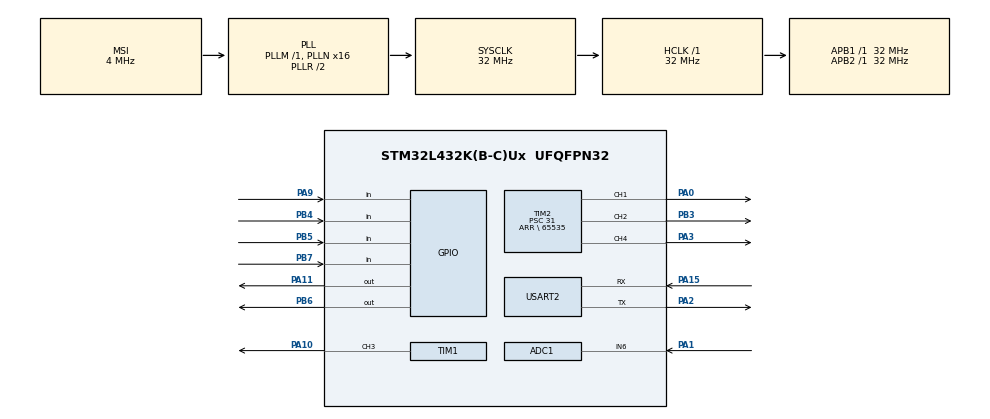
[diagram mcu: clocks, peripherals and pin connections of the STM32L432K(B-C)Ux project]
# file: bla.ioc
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ADC1.Channel-0\#ChannelRegularConversion=ADC_CHANNEL_6
ADC1.ClockPrescaler=ADC_CLOCK_ASYNC_DIV1
ADC1.ContinuousConvMode=DISABLE
ADC1.DMAContinuousRequests=DISABLE
ADC1.DataAlign=ADC_DATAALIGN_RIGHT
ADC1.DiscontinuousConvMode=DISABLE
ADC1.EOCSelection=ADC_EOC_SINGLE_CONV
ADC1.EnableAnalogWatchDog1=false
ADC1.EnableAnalogWatchDog2=false
ADC1.EnableAnalogWatchDog3=false
ADC1.EnableInjectedConversion=DISABLE
ADC1.EnableRegularConversion=ENABLE
ADC1.ExternalTrigConv=ADC_SOFTWARE_START
ADC1.ExternalTrigConvEdge=ADC_EXTERNALTRIGCONVEDGE_NONE
ADC1.LowPowerAutoWait=DISABLE
ADC1.NbrOfConversion=1
ADC1.NbrOfConversionFlag=1
ADC1.OffsetNumber-0\#ChannelRegularConversion=ADC_OFFSET_NONE
ADC1.Overrun=ADC_OVR_DATA_PRESERVED
ADC1.OversamplingMode=DISABLE
ADC1.Rank-0\#ChannelRegularConversion=1
ADC1.Resolution=ADC_RESOLUTION_12B
ADC1.SamplingTime-0\#ChannelRegularConversion=ADC_SAMPLETIME_2CYCLES_5
ADC1.ScanConvMode=ADC_SCAN_DISABLE
ADC1.master=1
Mcu.Family=STM32L4
Mcu.Name=STM32L432K(B-C)Ux
Mcu.Package=UFQFPN32
NVIC.PriorityGroup=NVIC_PRIORITYGROUP_4
NVIC.TIM1_CC_IRQn=true\:0\:0\:false\:false\:true\:true
NVIC.TIM2_IRQn=true\:0\:0\:false\:false\:true\:true
PA0.Signal=S_TIM2_CH1
PA1.Signal=ADCx_IN6
PA10.Signal=S_TIM1_CH3
PA11.Signal=GPIO_Output
PA13\ (JTMS-SWDIO).Mode=Serial_Wire
PA13\ (JTMS-SWDIO).Signal=SYS_JTMS-SWDIO
PA14\ (JTCK-SWCLK).Mode=Serial_Wire
PA14\ (JTCK-SWCLK).Signal=SYS_JTCK-SWCLK
PA15\ (JTDI).Mode=Asynchronous
PA15\ (JTDI).Signal=USART2_RX
PA2.Mode=Asynchronous
PA2.Signal=USART2_TX
PA3.Signal=S_TIM2_CH4
PA9.Signal=GPIO_Input
PB3\ (JTDO-TRACESWO).Signal=S_TIM2_CH2
PB4\ (NJTRST).Signal=GPIO_Input
PB5.Signal=GPIO_Input
PB6.Signal=GPIO_Output
PB7.Signal=GPIO_Input
PC14-OSC32_IN\ (PC14).Mode=LSE-External-Oscillator
PC14-OSC32_IN\ (PC14).Signal=RCC_OSC32_IN
PC15-OSC32_OUT\ (PC15).Mode=LSE-External-Oscillator
PC15-OSC32_OUT\ (PC15).Signal=RCC_OSC32_OUT
ProjectManager.HeapSize=0x200
ProjectManager.StackSize=0x400
ProjectManager.TargetToolchain=MDK-ARM V5
RCC.ADCFreq_Value=32000000
RCC.AHBFreq_Value=32000000
RCC.APB1Freq_Value=32000000
RCC.APB1TimFreq_Value=32000000
RCC.APB2Freq_Value=32000000
RCC.APB2TimFreq_Value=32000000
RCC.CortexFreq_Value=32000000
RCC.HCLKFreq_Value=32000000
RCC.HSE_VALUE=8000000
RCC.HSI48_VALUE=48000000
RCC.HSI_VALUE=16000000
RCC.MSI_VALUE=4000000
RCC.PLLN=16
RCC.PLLSAI1N=16
RCC.SYSCLKFreq_VALUE=32000000
RCC.SYSCLKSource=RCC_SYSCLKSOURCE_PLLCLK
RCC.USBFreq_Value=32000000
RCC.VCOOutputFreq_Value=64000000
SH.ADCx_IN6.0=ADC1_IN6,IN6-Single-Ended
SH.S_TIM1_CH3.0=TIM1_CH3,PWM Generation3 CH3
SH.S_TIM2_CH1.0=TIM2_CH1,PWM Generation1 CH1
SH.S_TIM2_CH2.0=TIM2_CH2,PWM Generation2 CH2
SH.S_TIM2_CH4.0=TIM2_CH4,PWM Generation4 CH4
TIM1.Channel-PWM\ Generation3\ CH3=TIM_CHANNEL_3
TIM1.Period=65535
TIM1.Prescaler=31
TIM2.Channel-PWM\ Generation1\ CH1=TIM_CHANNEL_1
TIM2.Channel-PWM\ Generation2\ CH2=TIM_CHANNEL_2
TIM2.Channel-PWM\ Generation4\ CH4=TIM_CHANNEL_4
TIM2.Period=\ 65535
TIM2.Prescaler=31
USART2.VirtualMode-Asynchronous=VM_ASYNC
VP_TIM1_VS_ClockSourceINT.Mode=Internal
VP_TIM2_VS_ClockSourceINT.Mode=Internal
board=custom

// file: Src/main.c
/**
  ******************************************************************************
  * @file           : main.c
  * @brief          : Main program body
  ******************************************************************************
  ** This notice applies to any and all portions of this file
  * that are not between comment pairs USER CODE BEGIN and
  * USER CODE END. Other portions of this file, whether
  * inserted by the user or by software development tools
  * are owned by their respective copyright owners.
  *
  * COPYRIGHT(c) 2022 STMicroelectronics
  *
  * Redistribution and use in source and binary forms, with or without modification,
  * are permitted provided that the following conditions are met:
  *   1. Redistributions of source code must retain the above copyright notice,
  *      this list of conditions and the following disclaimer.
  *   2. Redistributions in binary form must reproduce the above copyright notice,
  *      this list of conditions and the following disclaimer in the documentation
  *      and/or other materials provided with the distribution.
  *   3. Neither the name of STMicroelectronics nor the names of its contributors
  *      may be used to endorse or promote products derived from this software
  *      without specific prior written permission.
  *
  * THIS SOFTWARE IS PROVIDED BY THE COPYRIGHT HOLDERS AND CONTRIBUTORS "AS IS"
  * AND ANY EXPRESS OR IMPLIED WARRANTIES, INCLUDING, BUT NOT LIMITED TO, THE
  * IMPLIED WARRANTIES OF MERCHANTABILITY AND FITNESS FOR A PARTICULAR PURPOSE ARE
  * DISCLAIMED. IN NO EVENT SHALL THE COPYRIGHT HOLDER OR CONTRIBUTORS BE LIABLE
  * FOR ANY DIRECT, INDIRECT, INCIDENTAL, SPECIAL, EXEMPLARY, OR CONSEQUENTIAL
  * DAMAGES (INCLUDING, BUT NOT LIMITED TO, PROCUREMENT OF SUBSTITUTE GOODS OR
  * SERVICES; LOSS OF USE, DATA, OR PROFITS; OR BUSINESS INTERRUPTION) HOWEVER
  * CAUSED AND ON ANY THEORY OF LIABILITY, WHETHER IN CONTRACT, STRICT LIABILITY,
  * OR TORT (INCLUDING NEGLIGENCE OR OTHERWISE) ARISING IN ANY WAY OUT OF THE USE
  * OF THIS SOFTWARE, EVEN IF ADVISED OF THE POSSIBILITY OF SUCH DAMAGE.
  *
  ******************************************************************************
  */
#include "main.h"
#include "stm32l4xx_hal.h"

/* USER CODE BEGIN Includes */
#include "stdio.h"
#include "stdlib.h"
#include "string.h"
/* USER CODE END Includes */

ADC_HandleTypeDef hadc1;

TIM_HandleTypeDef htim1;
TIM_HandleTypeDef htim2;

UART_HandleTypeDef huart2;

/* USER CODE BEGIN PV */
/* Private variables ---------------------------------------------------------*/
#define MAX_VOLTAGE 4095
/* USER CODE END PV */

void SystemClock_Config(void);
static void MX_GPIO_Init(void);
static void MX_ADC1_Init(void);
static void MX_USART2_UART_Init(void);
static void MX_TIM2_Init(void);
static void MX_TIM1_Init(void);

void HAL_TIM_MspPostInit(TIM_HandleTypeDef *htim);

/* USER CODE BEGIN PFP */
/* Private function prototypes -----------------------------------------------*/

/* USER CODE END PFP */

/* USER CODE BEGIN 0 */
int raw;
uint8_t uartBuff[100];
/* USER CODE END 0 */

int main(void)
{

  /* MCU Configuration----------------------------------------------------------*/

  /* Reset of all peripherals, Initializes the Flash interface and the Systick. */
  HAL_Init();

  /* Configure the system clock */
  SystemClock_Config();

  /* Initialize all configured peripherals */
  MX_GPIO_Init();
  MX_ADC1_Init();
  MX_USART2_UART_Init();
  MX_TIM2_Init();
  MX_TIM1_Init();
  /* USER CODE BEGIN 2 */
	TIM2->CCR1= 0;
	TIM2->CCR2= 0;
	TIM2->CCR4= 0;
	TIM1->CCR3= 0;
//HAL_ADCEx_Calibration_Start(&hadc1, ADC_CHANNEL_2);
  /* USER CODE END 2 */

  /* Infinite loop */
  while (1)
  {

  /* USER CODE BEGIN 3 */
//		HAL_GPIO_WritePin(GPIOA,GPIO_PIN_6, 1);
//		HAL_Delay(100);
//		HAL_GPIO_WritePin(GPIOA,GPIO_PIN_6, 0);
//		HAL_Delay(100);

				HAL_TIM_PWM_Start(&htim2, TIM_CHANNEL_1);
				HAL_TIM_PWM_Start(&htim2, TIM_CHANNEL_2);
				HAL_TIM_PWM_Start(&htim2, TIM_CHANNEL_4);
				HAL_TIM_PWM_Start(&htim1, TIM_CHANNEL_3);

			 HAL_ADC_Start(&hadc1);
	  HAL_ADC_PollForConversion(&hadc1, HAL_MAX_DELAY);
	  raw = HAL_ADC_GetValue(&hadc1);
	  sprintf((char*) uartBuff,"%d\r\n", raw);
	  HAL_UART_Transmit(&huart2, uartBuff, sizeof(uartBuff), HAL_MAX_DELAY);

			//blue
			int y= HAL_GPIO_ReadPin(GPIOB,GPIO_PIN_4);
			//SECOND SENSOR (Red)
		int y2= HAL_GPIO_ReadPin(GPIOB,GPIO_PIN_5);
			//THIRD SENSOR  (Yellow)
		int y3= HAL_GPIO_ReadPin(GPIOB,GPIO_PIN_7);
		//fourth sensor (white)
		int y4= HAL_GPIO_ReadPin(GPIOA,GPIO_PIN_9);

			if((!y)&&(!y2)&&(!y3)&&(!y4))
		{

//			if ((raw/100) <= 3)
//			 {
//				 	TIM2->CCR1= 0;
//					TIM2->CCR2= 0;
//					TIM2->CCR4= 0;
//					TIM1->CCR3= 0;
//			 }
//			 	else{
				 	TIM2->CCR1= 100;
					TIM2->CCR2= 1000;
					TIM2->CCR4= 10000;
					TIM1->CCR3= 30000;
//			 }
		}
		else{

	//blue
	if(!y)
	{

		 raw = HAL_ADC_GetValue(&hadc1);
		 if ((raw/100) <= 3){
			 TIM2->CCR2= 0;
//		  HAL_GPIO_WritePin(GPIOB, GPIO_PIN_3, 0);
	  }
	  else{
			TIM2->CCR2= 65535;
//		  HAL_GPIO_WritePin(GPIOB, GPIO_PIN_3, 1);
	  }
		//HAL_GPIO_WritePin(GPIOA,GPIO_PIN_8,1);
		//HAL_UART_Transmit(&huart2, (uint8_t *) "Detect", sizeof("Detect"), HAL_MAX_DELAY);
			HAL_Delay(200);
	}
		else
	{
		TIM2->CCR2= 0;
//		HAL_GPIO_WritePin(GPIOB,GPIO_PIN_3,0);
		HAL_Delay(200);
	}

	//SECOND SENSOR (Red)
	if(!y2)
	{

		 raw = HAL_ADC_GetValue(&hadc1);
		 if ((raw/100) <= 3){
			TIM2->CCR1= 0;
//		  HAL_GPIO_WritePin(GPIOB, GPIO_PIN_6, 0);

	  }
	  else{
			TIM2->CCR1= 65535;
//		  HAL_GPIO_WritePin(GPIOB, GPIO_PIN_6, 1);
	  }

		//HAL_GPIO_WritePin(GPIOA,GPIO_PIN_8,1);
		//HAL_UART_Transmit(&huart2, (uint8_t *) "Detect", sizeof("Detect"), HAL_MAX_DELAY);
			HAL_Delay(200);
	}
		else
	{
		TIM2->CCR1= 0;
//		HAL_GPIO_WritePin(GPIOB,GPIO_PIN_6,0);
		HAL_Delay(200);
	}

	//THIRD SENSOR  (Yellow)
	if(!y3)
	{
		 raw = HAL_ADC_GetValue(&hadc1);
		 if ((raw/100) <= 3){
			 TIM1->CCR3= 0;
//		  HAL_GPIO_WritePin(GPIOA, GPIO_PIN_10, 0);
	  }
	  else{
				TIM1->CCR3= 65535;
//		  HAL_GPIO_WritePin(GPIOA, GPIO_PIN_10, 1);
	  }
		//HAL_GPIO_WritePin(GPIOA,GPIO_PIN_8,1);
		//HAL_UART_Transmit(&huart2, (uint8_t *) "Detect", sizeof("Detect"), HAL_MAX_DELAY);
			HAL_Delay(200);
	}
		else
	{
		TIM1->CCR3= 0;
//		HAL_GPIO_WritePin(GPIOA,GPIO_PIN_10,0);
		HAL_Delay(200);
	}

	//fourth sensor (white)

	if(!y4)
	{
		 raw = HAL_ADC_GetValue(&hadc1);
		 if ((raw/100) <= 3){
			 TIM2->CCR4= 0;
//		  HAL_GPIO_WritePin(GPIOA, GPIO_PIN_11, 0);
	  }
	  else{
			TIM2->CCR4= 65535;
//		  HAL_GPIO_WritePin(GPIOA, GPIO_PIN_11, 1);
	  }
		//HAL_GPIO_WritePin(GPIOA,GPIO_PIN_8,1);
		//HAL_UART_Transmit(&huart2, (uint8_t *) "Detect", sizeof("Detect"), HAL_MAX_DELAY);
			HAL_Delay(200);
	}
		else
	{
		TIM2->CCR4= 0;
//		HAL_GPIO_WritePin(GPIOA,GPIO_PIN_11,0);
		HAL_Delay(200);
	}

}

  }
  /* USER CODE END 3 */

}

void SystemClock_Config(void)
{

  RCC_OscInitTypeDef RCC_OscInitStruct;
  RCC_ClkInitTypeDef RCC_ClkInitStruct;
  RCC_PeriphCLKInitTypeDef PeriphClkInit;

    /**Configure LSE Drive Capability
    */
  HAL_PWR_EnableBkUpAccess();

  __HAL_RCC_LSEDRIVE_CONFIG(RCC_LSEDRIVE_LOW);

    /**Initializes the CPU, AHB and APB busses clocks
    */
  RCC_OscInitStruct.OscillatorType = RCC_OSCILLATORTYPE_LSE|RCC_OSCILLATORTYPE_MSI;
  RCC_OscInitStruct.LSEState = RCC_LSE_ON;
  RCC_OscInitStruct.MSIState = RCC_MSI_ON;
  RCC_OscInitStruct.MSICalibrationValue = 0;
  RCC_OscInitStruct.MSIClockRange = RCC_MSIRANGE_6;
  RCC_OscInitStruct.PLL.PLLState = RCC_PLL_ON;
  RCC_OscInitStruct.PLL.PLLSource = RCC_PLLSOURCE_MSI;
  RCC_OscInitStruct.PLL.PLLM = 1;
  RCC_OscInitStruct.PLL.PLLN = 16;
  RCC_OscInitStruct.PLL.PLLP = RCC_PLLP_DIV7;
  RCC_OscInitStruct.PLL.PLLQ = RCC_PLLQ_DIV2;
  RCC_OscInitStruct.PLL.PLLR = RCC_PLLR_DIV2;
  if (HAL_RCC_OscConfig(&RCC_OscInitStruct) != HAL_OK)
  {
    _Error_Handler(__FILE__, __LINE__);
  }

    /**Initializes the CPU, AHB and APB busses clocks
    */
  RCC_ClkInitStruct.ClockType = RCC_CLOCKTYPE_HCLK|RCC_CLOCKTYPE_SYSCLK
                              |RCC_CLOCKTYPE_PCLK1|RCC_CLOCKTYPE_PCLK2;
  RCC_ClkInitStruct.SYSCLKSource = RCC_SYSCLKSOURCE_PLLCLK;
  RCC_ClkInitStruct.AHBCLKDivider = RCC_SYSCLK_DIV1;
  RCC_ClkInitStruct.APB1CLKDivider = RCC_HCLK_DIV1;
  RCC_ClkInitStruct.APB2CLKDivider = RCC_HCLK_DIV1;

  if (HAL_RCC_ClockConfig(&RCC_ClkInitStruct, FLASH_LATENCY_1) != HAL_OK)
  {
    _Error_Handler(__FILE__, __LINE__);
  }

  PeriphClkInit.PeriphClockSelection = RCC_PERIPHCLK_USART2|RCC_PERIPHCLK_ADC;
  PeriphClkInit.Usart2ClockSelection = RCC_USART2CLKSOURCE_PCLK1;
  PeriphClkInit.AdcClockSelection = RCC_ADCCLKSOURCE_PLLSAI1;
  PeriphClkInit.PLLSAI1.PLLSAI1Source = RCC_PLLSOURCE_MSI;
  PeriphClkInit.PLLSAI1.PLLSAI1M = 1;
  PeriphClkInit.PLLSAI1.PLLSAI1N = 16;
  PeriphClkInit.PLLSAI1.PLLSAI1P = RCC_PLLP_DIV7;
  PeriphClkInit.PLLSAI1.PLLSAI1Q = RCC_PLLQ_DIV2;
  PeriphClkInit.PLLSAI1.PLLSAI1R = RCC_PLLR_DIV2;
  PeriphClkInit.PLLSAI1.PLLSAI1ClockOut = RCC_PLLSAI1_ADC1CLK;
  if (HAL_RCCEx_PeriphCLKConfig(&PeriphClkInit) != HAL_OK)
  {
    _Error_Handler(__FILE__, __LINE__);
  }

    /**Configure the main internal regulator output voltage
    */
  if (HAL_PWREx_ControlVoltageScaling(PWR_REGULATOR_VOLTAGE_SCALE1) != HAL_OK)
  {
    _Error_Handler(__FILE__, __LINE__);
  }

    /**Configure the Systick interrupt time
    */
  HAL_SYSTICK_Config(HAL_RCC_GetHCLKFreq()/1000);

    /**Configure the Systick
    */
  HAL_SYSTICK_CLKSourceConfig(SYSTICK_CLKSOURCE_HCLK);

    /**Enable MSI Auto calibration
    */
  HAL_RCCEx_EnableMSIPLLMode();

  /* SysTick_IRQn interrupt configuration */
  HAL_NVIC_SetPriority(SysTick_IRQn, 0, 0);
}

/* ADC1 init function */
static void MX_ADC1_Init(void)
{

  ADC_ChannelConfTypeDef sConfig;

    /**Common config
    */
  hadc1.Instance = ADC1;
  hadc1.Init.ClockPrescaler = ADC_CLOCK_ASYNC_DIV1;
  hadc1.Init.Resolution = ADC_RESOLUTION_12B;
  hadc1.Init.DataAlign = ADC_DATAALIGN_RIGHT;
  hadc1.Init.ScanConvMode = ADC_SCAN_DISABLE;
  hadc1.Init.EOCSelection = ADC_EOC_SINGLE_CONV;
  hadc1.Init.LowPowerAutoWait = DISABLE;
  hadc1.Init.ContinuousConvMode = DISABLE;
  hadc1.Init.NbrOfConversion = 1;
  hadc1.Init.DiscontinuousConvMode = DISABLE;
  hadc1.Init.ExternalTrigConv = ADC_SOFTWARE_START;
  hadc1.Init.ExternalTrigConvEdge = ADC_EXTERNALTRIGCONVEDGE_NONE;
  hadc1.Init.DMAContinuousRequests = DISABLE;
  hadc1.Init.Overrun = ADC_OVR_DATA_PRESERVED;
  hadc1.Init.OversamplingMode = DISABLE;
  if (HAL_ADC_Init(&hadc1) != HAL_OK)
  {
    _Error_Handler(__FILE__, __LINE__);
  }

    /**Configure Regular Channel
    */
  sConfig.Channel = ADC_CHANNEL_6;
  sConfig.Rank = ADC_REGULAR_RANK_1;
  sConfig.SamplingTime = ADC_SAMPLETIME_2CYCLES_5;
  sConfig.SingleDiff = ADC_SINGLE_ENDED;
  sConfig.OffsetNumber = ADC_OFFSET_NONE;
  sConfig.Offset = 0;
  if (HAL_ADC_ConfigChannel(&hadc1, &sConfig) != HAL_OK)
  {
    _Error_Handler(__FILE__, __LINE__);
  }

}

/* TIM1 init function */
static void MX_TIM1_Init(void)
{

  TIM_ClockConfigTypeDef sClockSourceConfig;
  TIM_MasterConfigTypeDef sMasterConfig;
  TIM_OC_InitTypeDef sConfigOC;
  TIM_BreakDeadTimeConfigTypeDef sBreakDeadTimeConfig;

  htim1.Instance = TIM1;
  htim1.Init.Prescaler = 31;
  htim1.Init.CounterMode = TIM_COUNTERMODE_UP;
  htim1.Init.Period = 65535;
  htim1.Init.ClockDivision = TIM_CLOCKDIVISION_DIV1;
  htim1.Init.RepetitionCounter = 0;
  htim1.Init.AutoReloadPreload = TIM_AUTORELOAD_PRELOAD_DISABLE;
  if (HAL_TIM_Base_Init(&htim1) != HAL_OK)
  {
    _Error_Handler(__FILE__, __LINE__);
  }

  sClockSourceConfig.ClockSource = TIM_CLOCKSOURCE_INTERNAL;
  if (HAL_TIM_ConfigClockSource(&htim1, &sClockSourceConfig) != HAL_OK)
  {
    _Error_Handler(__FILE__, __LINE__);
  }

  if (HAL_TIM_PWM_Init(&htim1) != HAL_OK)
  {
    _Error_Handler(__FILE__, __LINE__);
  }

  sMasterConfig.MasterOutputTrigger = TIM_TRGO_RESET;
  sMasterConfig.MasterOutputTrigger2 = TIM_TRGO2_RESET;
  sMasterConfig.MasterSlaveMode = TIM_MASTERSLAVEMODE_DISABLE;
  if (HAL_TIMEx_MasterConfigSynchronization(&htim1, &sMasterConfig) != HAL_OK)
  {
    _Error_Handler(__FILE__, __LINE__);
  }

  sConfigOC.OCMode = TIM_OCMODE_PWM1;
  sConfigOC.Pulse = 0;
  sConfigOC.OCPolarity = TIM_OCPOLARITY_HIGH;
  sConfigOC.OCNPolarity = TIM_OCNPOLARITY_HIGH;
  sConfigOC.OCFastMode = TIM_OCFAST_DISABLE;
  sConfigOC.OCIdleState = TIM_OCIDLESTATE_RESET;
  sConfigOC.OCNIdleState = TIM_OCNIDLESTATE_RESET;
  if (HAL_TIM_PWM_ConfigChannel(&htim1, &sConfigOC, TIM_CHANNEL_3) != HAL_OK)
  {
    _Error_Handler(__FILE__, __LINE__);
  }

  sBreakDeadTimeConfig.OffStateRunMode = TIM_OSSR_DISABLE;
  sBreakDeadTimeConfig.OffStateIDLEMode = TIM_OSSI_DISABLE;
  sBreakDeadTimeConfig.LockLevel = TIM_LOCKLEVEL_OFF;
  sBreakDeadTimeConfig.DeadTime = 0;
  sBreakDeadTimeConfig.BreakState = TIM_BREAK_DISABLE;
  sBreakDeadTimeConfig.BreakPolarity = TIM_BREAKPOLARITY_HIGH;
  sBreakDeadTimeConfig.BreakFilter = 0;
  sBreakDeadTimeConfig.Break2State = TIM_BREAK2_DISABLE;
  sBreakDeadTimeConfig.Break2Polarity = TIM_BREAK2POLARITY_HIGH;
  sBreakDeadTimeConfig.Break2Filter = 0;
  sBreakDeadTimeConfig.AutomaticOutput = TIM_AUTOMATICOUTPUT_DISABLE;
  if (HAL_TIMEx_ConfigBreakDeadTime(&htim1, &sBreakDeadTimeConfig) != HAL_OK)
  {
    _Error_Handler(__FILE__, __LINE__);
  }

  HAL_TIM_MspPostInit(&htim1);

}

/* TIM2 init function */
static void MX_TIM2_Init(void)
{

  TIM_ClockConfigTypeDef sClockSourceConfig;
  TIM_MasterConfigTypeDef sMasterConfig;
  TIM_OC_InitTypeDef sConfigOC;

  htim2.Instance = TIM2;
  htim2.Init.Prescaler = 31;
  htim2.Init.CounterMode = TIM_COUNTERMODE_UP;
  htim2.Init.Period = 65535;
  htim2.Init.ClockDivision = TIM_CLOCKDIVISION_DIV1;
  htim2.Init.AutoReloadPreload = TIM_AUTORELOAD_PRELOAD_DISABLE;
  if (HAL_TIM_Base_Init(&htim2) != HAL_OK)
  {
    _Error_Handler(__FILE__, __LINE__);
  }

  sClockSourceConfig.ClockSource = TIM_CLOCKSOURCE_INTERNAL;
  if (HAL_TIM_ConfigClockSource(&htim2, &sClockSourceConfig) != HAL_OK)
  {
    _Error_Handler(__FILE__, __LINE__);
  }

  if (HAL_TIM_PWM_Init(&htim2) != HAL_OK)
  {
    _Error_Handler(__FILE__, __LINE__);
  }

  sMasterConfig.MasterOutputTrigger = TIM_TRGO_RESET;
  sMasterConfig.MasterSlaveMode = TIM_MASTERSLAVEMODE_DISABLE;
  if (HAL_TIMEx_MasterConfigSynchronization(&htim2, &sMasterConfig) != HAL_OK)
  {
    _Error_Handler(__FILE__, __LINE__);
  }

  sConfigOC.OCMode = TIM_OCMODE_PWM1;
  sConfigOC.Pulse = 0;
  sConfigOC.OCPolarity = TIM_OCPOLARITY_HIGH;
  sConfigOC.OCFastMode = TIM_OCFAST_DISABLE;
  if (HAL_TIM_PWM_ConfigChannel(&htim2, &sConfigOC, TIM_CHANNEL_1) != HAL_OK)
  {
    _Error_Handler(__FILE__, __LINE__);
  }

  if (HAL_TIM_PWM_ConfigChannel(&htim2, &sConfigOC, TIM_CHANNEL_2) != HAL_OK)
  {
    _Error_Handler(__FILE__, __LINE__);
  }

  if (HAL_TIM_PWM_ConfigChannel(&htim2, &sConfigOC, TIM_CHANNEL_4) != HAL_OK)
  {
    _Error_Handler(__FILE__, __LINE__);
  }

  HAL_TIM_MspPostInit(&htim2);

}

/* USART2 init function */
static void MX_USART2_UART_Init(void)
{

  huart2.Instance = USART2;
  huart2.Init.BaudRate = 115200;
  huart2.Init.WordLength = UART_WORDLENGTH_8B;
  huart2.Init.StopBits = UART_STOPBITS_1;
  huart2.Init.Parity = UART_PARITY_NONE;
  huart2.Init.Mode = UART_MODE_TX_RX;
  huart2.Init.HwFlowCtl = UART_HWCONTROL_NONE;
  huart2.Init.OverSampling = UART_OVERSAMPLING_16;
  huart2.Init.OneBitSampling = UART_ONE_BIT_SAMPLE_DISABLE;
  huart2.AdvancedInit.AdvFeatureInit = UART_ADVFEATURE_NO_INIT;
  if (HAL_UART_Init(&huart2) != HAL_OK)
  {
    _Error_Handler(__FILE__, __LINE__);
  }

}

/** Configure pins as
        * Analog
        * Input
        * Output
        * EVENT_OUT
        * EXTI
*/
static void MX_GPIO_Init(void)
{

  GPIO_InitTypeDef GPIO_InitStruct;

  /* GPIO Ports Clock Enable */
  __HAL_RCC_GPIOC_CLK_ENABLE();
  __HAL_RCC_GPIOA_CLK_ENABLE();
  __HAL_RCC_GPIOB_CLK_ENABLE();

  /*Configure GPIO pin Output Level */
  HAL_GPIO_WritePin(GPIOA, GPIO_PIN_11, GPIO_PIN_RESET);

  /*Configure GPIO pin Output Level */
  HAL_GPIO_WritePin(GPIOB, GPIO_PIN_6, GPIO_PIN_RESET);

  /*Configure GPIO pin : PA9 */
  GPIO_InitStruct.Pin = GPIO_PIN_9;
  GPIO_InitStruct.Mode = GPIO_MODE_INPUT;
  GPIO_InitStruct.Pull = GPIO_NOPULL;
  HAL_GPIO_Init(GPIOA, &GPIO_InitStruct);

  /*Configure GPIO pin : PA11 */
  GPIO_InitStruct.Pin = GPIO_PIN_11;
  GPIO_InitStruct.Mode = GPIO_MODE_OUTPUT_PP;
  GPIO_InitStruct.Pull = GPIO_NOPULL;
  GPIO_InitStruct.Speed = GPIO_SPEED_FREQ_LOW;
  HAL_GPIO_Init(GPIOA, &GPIO_InitStruct);

  /*Configure GPIO pins : PB4 PB5 PB7 */
  GPIO_InitStruct.Pin = GPIO_PIN_4|GPIO_PIN_5|GPIO_PIN_7;
  GPIO_InitStruct.Mode = GPIO_MODE_INPUT;
  GPIO_InitStruct.Pull = GPIO_NOPULL;
  HAL_GPIO_Init(GPIOB, &GPIO_InitStruct);

  /*Configure GPIO pin : PB6 */
  GPIO_InitStruct.Pin = GPIO_PIN_6;
  GPIO_InitStruct.Mode = GPIO_MODE_OUTPUT_PP;
  GPIO_InitStruct.Pull = GPIO_NOPULL;
  GPIO_InitStruct.Speed = GPIO_SPEED_FREQ_LOW;
  HAL_GPIO_Init(GPIOB, &GPIO_InitStruct);

}

void _Error_Handler(char *file, int line)
{
  while(1)
  {
  }
}

/************************ (C) COPYRIGHT STMicroelectronics *****END OF FILE****/
